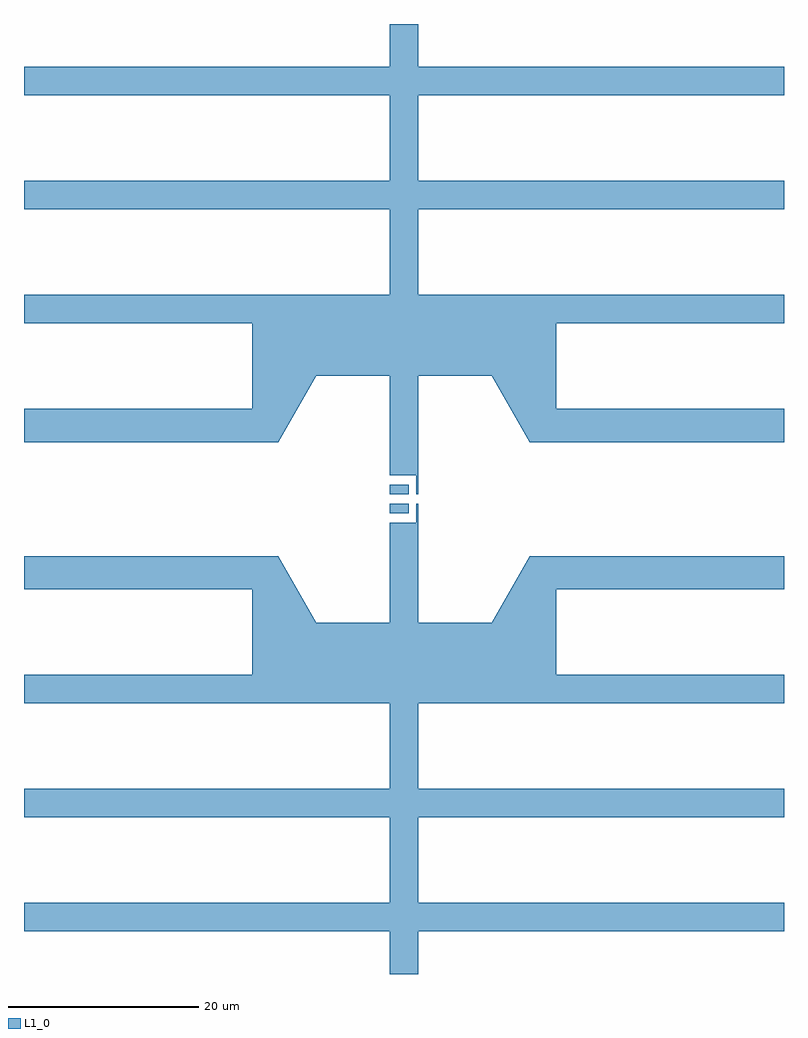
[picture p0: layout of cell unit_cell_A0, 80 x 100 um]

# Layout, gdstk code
from math import pi, radians
import gdstk
lib = gdstk.Library(unit=1e-6, precision=1e-09)
def R(c, l, rs):  # rectangles x0, y0, x1, y1
    for r in rs: c.add(gdstk.rectangle(r[:2], r[2:], *l))
def P(c, l, *ps):  # polygons
    for p in ps: c.add(gdstk.Polygon(p, *l))
L1_0 = (1, 0)

unnamed_12 = lib.new_cell('Unnamed_12')
P(unnamed_12, L1_0, [(38.5,0),(38.5,4.5),(0,4.5),(0,7.5),(38.5,7.5),(38.5,16.5),(0,16.5),(0,19.5),(38.5,19.5),(38.5,28.5),(0,28.5),(0,31.5),(24,31.5),(24,40.5),(0,40.5),(0,44),(26.759,44),(30.759,37),(38.5,37),(38.5,47.5),(40,47.5),(40,0)])

unnamed_13 = lib.new_cell('Unnamed_13')
unnamed_13.add(gdstk.Reference(unnamed_12, (0,0)))

rectangle_s2_1_lwg_cfal_ = lib.new_cell('rectangle_S2_1_LWG_CFal_a0a9c26d')
R(rectangle_s2_1_lwg_cfal_, L1_0, [(0,0,2,1)])

rectangle_s0p2_2_lwg_cf_ = lib.new_cell('rectangle_S0p2_2_LWG_CF_9ef6d549')
R(rectangle_s0p2_2_lwg_cf_, L1_0, [(0,0,0.2,2)])

unnamed_18 = lib.new_cell('Unnamed_18')
unnamed_18.add(gdstk.Reference(rectangle_s2_1_lwg_cfal_, (0,-1.5)))
unnamed_18.add(gdstk.Reference(rectangle_s0p2_2_lwg_cf_, (2.8,-2.5)))

unit_cell_a0 = lib.new_cell('unit_cell_A0')
unit_cell_a0.add(gdstk.Reference(unnamed_13, (0,0)))
unit_cell_a0.add(gdstk.Reference(unnamed_13, (80,0), rotation=pi, x_reflection=True))
unit_cell_a0.add(gdstk.Reference(unnamed_13, (0,100), x_reflection=True))
unit_cell_a0.add(gdstk.Reference(unnamed_13, (80,100), rotation=pi))
unit_cell_a0.add(gdstk.Reference(unnamed_18, (38.5,50)))
unit_cell_a0.add(gdstk.Reference(unnamed_18, (38.5,50), x_reflection=True))

lib.write_gds('unit_cell_A0.gds')
